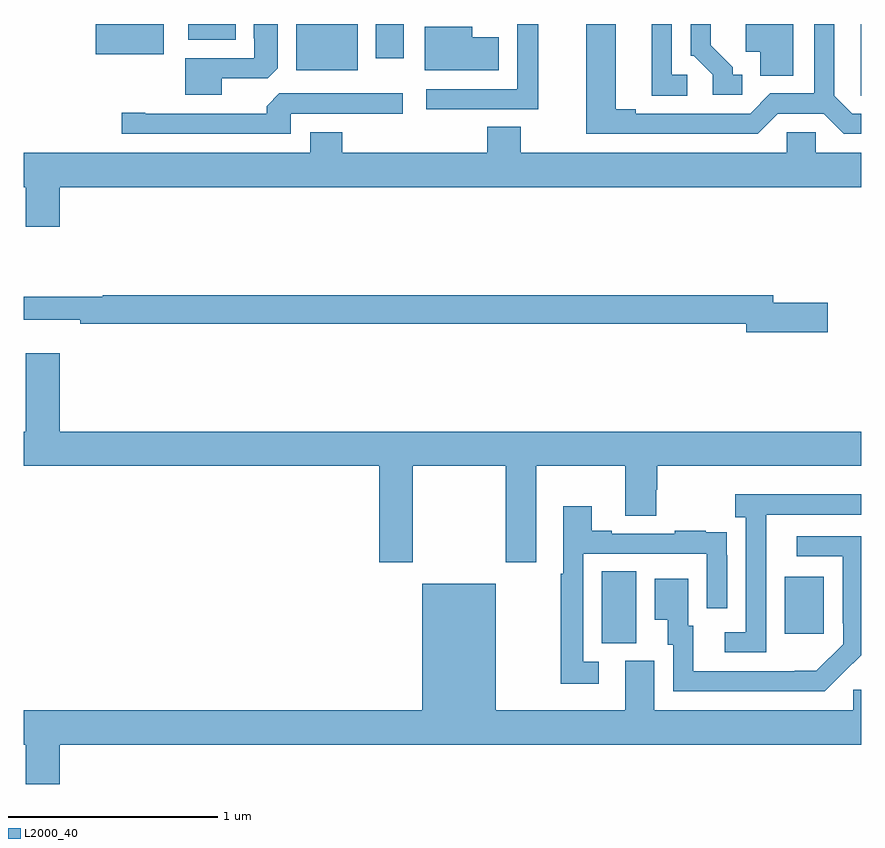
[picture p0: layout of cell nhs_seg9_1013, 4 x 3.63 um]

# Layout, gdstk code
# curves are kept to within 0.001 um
import gdstk
lib = gdstk.Library(unit=1e-6, precision=1e-09)
def R(c, l, rs):  # rectangles x0, y0, x1, y1
    for r in rs: c.add(gdstk.rectangle(r[:2], r[2:], *l))
def P(c, l, *ps):  # polygons
    for p in ps: c.add(gdstk.Polygon(p, *l))
L2000_40 = (2000, 40)

nhs_seg9_1013 = lib.new_cell('nhs_seg9_1013')
R(nhs_seg9_1013, L2000_40, [(167.762,1227.541,167.926,1227.884), (168.635,1227.585,168.823,1227.859), (166.301,1230.278,166.594,1230.5), (166.682,1230.336,166.816,1230.5), (165.344,1230.356,165.667,1230.5), (165.785,1230.425,166.012,1230.5)])
P(nhs_seg9_1013, L2000_40, [(168.676,1230.5),(168.449,1230.5),(168.449,1230.368),(168.518,1230.368),(168.518,1230.253),(168.676,1230.253)],
  [(168.169,1230.258),(168.096,1230.258),(168.096,1230.5),(167.999,1230.5),(167.999,1230.157),(168.169,1230.157)],
  [(167.457,1230.5),(167.358,1230.5),(167.358,1230.189),(166.923,1230.189),(166.923,1230.093),(167.457,1230.093)],
  [(165.946,1230.24),(166.164,1230.24),(166.213,1230.289),(166.213,1230.5),(166.097,1230.5),(166.097,1230.433),(166.101,1230.433),(166.101,1230.336),(165.77,1230.336),(165.77,1230.161),(165.946,1230.161)],
  [(168.433,1230.258),(168.388,1230.258),(168.388,1230.293),(168.283,1230.398),(168.283,1230.5),(168.186,1230.5),(168.186,1230.348),(168.201,1230.348),(168.291,1230.258),(168.291,1230.162),(168.433,1230.162)],
  [(169,1230.5),(168.998,1230.5),(168.998,1230.265),(168.999,1230.265),(168.999,1230.157),(169,1230.157)],
  [(168.603,1230.072),(168.821,1230.072),(168.917,1229.976),(169,1229.976),(169,1230.072),(168.957,1230.072),(168.873,1230.156),(168.873,1230.5),(168.777,1230.5),(168.777,1230.168),(168.567,1230.168),(168.471,1230.072),(167.923,1230.072),(167.923,1230.092),(167.827,1230.092),(167.827,1230.5),(167.687,1230.5),(167.687,1229.976),(168.507,1229.976)],
  [(167.269,1230.436),(167.143,1230.436),(167.143,1230.487),(166.916,1230.487),(166.916,1230.278),(167.269,1230.278)],
  [(166.275,1230.072),(166.81,1230.072),(166.81,1230.168),(166.221,1230.168),(166.16,1230.106),(166.16,1230.072),(165.58,1230.072),(165.58,1230.077),(165.468,1230.077),(165.468,1229.976),(166.275,1229.976)],
  [(165.172,1229.72),(169,1229.72),(169,1229.884),(168.783,1229.884),(168.783,1229.982),(168.645,1229.982),(168.645,1229.884),(167.373,1229.884),(167.373,1230.008),(167.213,1230.008),(167.213,1229.884),(166.52,1229.884),(166.52,1229.983),(166.367,1229.983),(166.367,1229.884),(165,1229.884),(165,1229.72),(165.008,1229.72),(165.008,1229.532),(165.172,1229.532)],
  [(168.841,1229.168),(168.58,1229.168),(168.58,1229.204),(165.376,1229.204),(165.376,1229.197),(165,1229.197),(165,1229.087),(165.268,1229.087),(165.268,1229.068),(168.452,1229.068),(168.452,1229.026),(168.841,1229.026)],
  [(166.697,1227.927),(166.857,1227.927),(166.857,1228.388),(167.302,1228.388),(167.302,1227.927),(167.449,1227.927),(167.449,1228.388),(167.873,1228.388),(167.873,1228.15),(168.021,1228.15),(168.021,1228.275),(168.026,1228.275),(168.026,1228.388),(169,1228.388),(169,1228.552),(165.172,1228.552),(165.172,1228.927),(165.008,1228.927),(165.008,1228.552),(165,1228.552),(165,1228.388),(166.697,1228.388)],
  [(168.546,1227.955),(168.547,1227.955),(168.547,1228.155),(169,1228.155),(169,1228.252),(168.399,1228.252),(168.399,1228.142),(168.45,1228.142),(168.45,1227.594),(168.348,1227.594),(168.348,1227.498),(168.546,1227.498)],
  [(167.746,1227.453),(167.673,1227.453),(167.673,1227.969),(168.264,1227.969),(168.264,1227.708),(168.36,1227.708),(168.36,1227.962),(168.359,1227.962),(168.359,1228.071),(168.257,1228.071),(168.257,1228.078),(168.109,1228.078),(168.109,1228.065),(167.809,1228.065),(167.809,1228.078),(167.713,1228.078),(167.713,1228.195),(167.577,1228.195),(167.577,1227.872),(167.565,1227.872),(167.565,1227.348),(167.746,1227.348)],
  [(168.917,1227.403),(168.918,1227.402),(169,1227.484),(169,1228.053),(168.693,1228.053),(168.693,1227.957),(168.912,1227.957),(168.912,1227.637),(168.915,1227.637),(168.915,1227.537),(168.787,1227.409),(168.199,1227.408),(168.199,1227.624),(168.175,1227.624),(168.175,1227.85),(168.014,1227.85),(168.014,1227.653),(168.077,1227.653),(168.077,1227.534),(168.102,1227.534),(168.102,1227.312),(168.826,1227.312)],
  [(165.172,1227.056),(169,1227.056),(169,1227.318),(168.963,1227.318),(168.963,1227.22),(168.013,1227.22),(168.013,1227.456),(167.873,1227.456),(167.873,1227.22),(167.254,1227.22),(167.254,1227.826),(166.904,1227.826),(166.904,1227.22),(165,1227.22),(165,1227.056),(165.008,1227.056),(165.008,1226.868),(165.172,1226.868)])

lib.write_gds('nhs_seg9_1013.gds')
